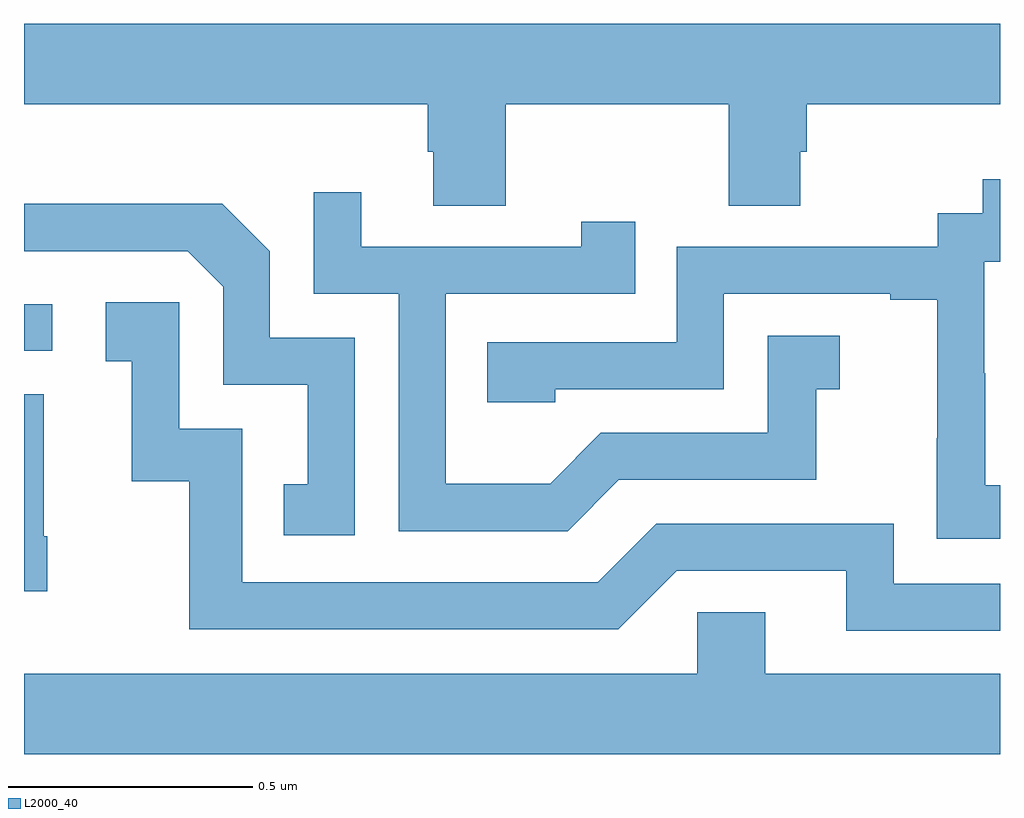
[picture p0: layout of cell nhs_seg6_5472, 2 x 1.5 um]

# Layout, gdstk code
import gdstk
lib = gdstk.Library(unit=1e-6, precision=1e-09)
def R(c, l, rs):  # rectangles x0, y0, x1, y1
    for r in rs: c.add(gdstk.rectangle(r[:2], r[2:], *l))
def P(c, l, *ps):  # polygons
    for p in ps: c.add(gdstk.Polygon(p, *l))
L2000_40 = (2000, 40)

nhs_seg6_5472 = lib.new_cell('nhs_seg6_5472')
R(nhs_seg6_5472, L2000_40, [(183,950.826,183.058,950.922)])
P(nhs_seg6_5472, L2000_40, [(183,951.332),(183.827,951.332),(183.827,951.234),(183.839,951.234),(183.839,951.124),(183.987,951.124),(183.987,951.332),(184.444,951.332),(184.444,951.124),(184.591,951.124),(184.591,951.234),(184.604,951.234),(184.604,951.332),(185,951.332),(185,951.496),(183,951.496)],
  [(185,950.551),(184.97,950.551),(184.97,950.78),(184.968,950.78),(184.968,951.009),(185,951.009),(185,951.178),(184.965,951.178),(184.965,951.108),(184.872,951.108),(184.872,951.039),(184.338,951.039),(184.338,950.844),(183.949,950.844),(183.949,950.721),(184.089,950.721),(184.089,950.748),(184.434,950.748),(184.434,950.943),(184.775,950.943),(184.775,950.931),(184.871,950.931),(184.871,950.647),(184.87,950.647),(184.87,950.441),(185,950.441)],
  [(184.219,950.562),(184.623,950.562),(184.623,950.747),(184.672,950.747),(184.672,950.857),(184.524,950.857),(184.524,950.658),(184.182,950.658),(184.078,950.554),(183.864,950.554),(183.864,950.943),(184.253,950.943),(184.253,951.091),(184.142,951.091),(184.142,951.039),(183.691,951.039),(183.691,951.151),(183.594,951.151),(183.594,950.943),(183.768,950.943),(183.768,950.457),(184.114,950.457)],
  [(183.678,950.853),(183.504,950.853),(183.504,951.03),(183.406,951.128),(183,951.128),(183,951.03),(183.336,951.03),(183.408,950.958),(183.408,950.757),(183.581,950.757),(183.581,950.553),(183.532,950.553),(183.532,950.448),(183.678,950.448)],
  [(185,950.349),(184.782,950.349),(184.782,950.472),(184.296,950.472),(184.176,950.352),(183.447,950.352),(183.447,950.667),(183.318,950.667),(183.318,950.926),(183.168,950.926),(183.168,950.805),(183.221,950.805),(183.221,950.559),(183.339,950.559),(183.339,950.256),(184.218,950.256),(184.338,950.376),(184.685,950.376),(184.685,950.253),(185,950.253)],
  [(183.048,950.446),(183.04,950.446),(183.04,950.737),(183,950.737),(183,950.334),(183.048,950.334)],
  [(185,950.164),(184.519,950.164),(184.519,950.291),(184.38,950.291),(184.38,950.164),(183,950.164),(183,950),(185,950)])

lib.write_gds('nhs_seg6_5472.gds')
